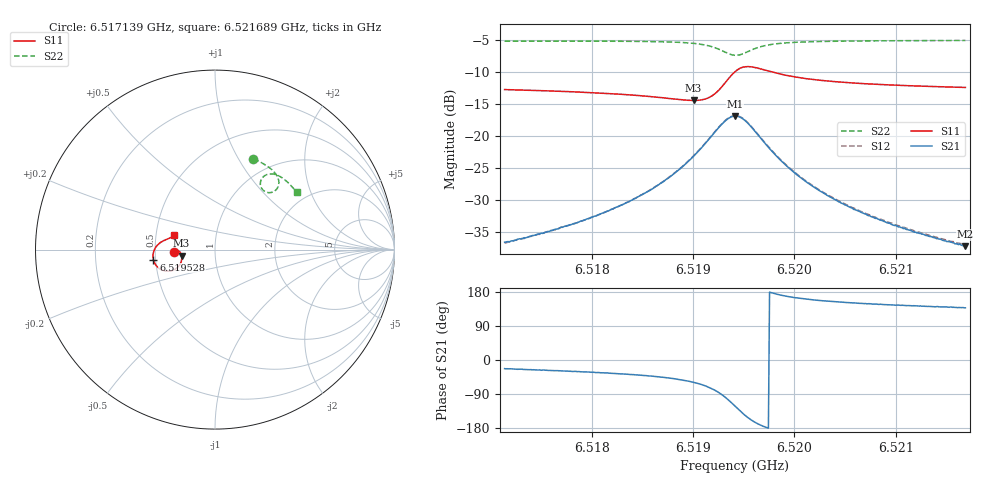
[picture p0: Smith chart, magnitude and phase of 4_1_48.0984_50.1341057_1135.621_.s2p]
#  HZ  S  RI  R  50.00
! Rohde & Schwarz Vector Network Analyzer
! Rohde-Schwarz,ZNB20-2Port,1311601062101988,3.16
! Created: UTC 12/23/2023, 3:34:59 AM
! freq[Hz]  re:S11  im:S11  re:S21  im:S21  re:S12  im:S12  re:S22  im:S22
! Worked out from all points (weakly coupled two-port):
!   401 points, 6.517139 GHz to 6.521689 GHz, reference 50 ohm
!   highest |S21| = -16.88 dB at 6.519414 GHz (marker M1); lowest = -37.2 dB at 6.521689 GHz (marker M2)
!   lowest |S11| = -14.4 dB at 6.519005 GHz (marker M3), VSWR 1.47, Z = 34.2 - j2.46 ohm
!   |S11| at or under -10 dB: start of sweep to 6.519412 GHz; 6.519776 GHz to end of sweep
!   |S22| runs from -7.4 to -5.1 dB; largest |S21 - S12| = 0.0045
!   S11 on the Smith chart (normalised r, x): 6.517139 GHz: 0.63, -0.02; 6.519528 GHz: 0.49, -0.06; 6.521689 GHz: 0.62, +0.10
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6.5171394e9  -0.2299 -0.014  0.0137 -0.00576  0.0137 -0.00541  0.2141 0.5053
6.5175375e9  -0.2252 -0.00846  0.0158 -0.00803  0.0161 -0.0075  0.2433 0.4923
6.5179014e9  -0.2198 -0.00444  0.0187 -0.0113  0.0189 -0.0107  0.2701 0.4779
6.5183109e9  -0.2111 -0.00303  0.0235 -0.0177  0.0241 -0.0169  0.3011 0.4577
6.5186635e9  -0.2 -0.00838  0.0299 -0.0294  0.0308 -0.0286  0.3286 0.4336
6.5188454e9  -0.1926 -0.0177  0.0339 -0.0413  0.0353 -0.0404  0.3428 0.4154
6.5190047e9  -0.1863 -0.0346  0.0359 -0.0596  0.038 -0.0589  0.3532 0.3924
6.519107e9  -0.1855 -0.0537  0.0333 -0.0783  0.0359 -0.0777  0.3559 0.3716
6.519198e9  -0.1931 -0.0788  0.0227 -0.1008  0.0259 -0.101  0.3504 0.3482
6.5193231e9  -0.2368 -0.1162  -0.0218 -0.1305  -0.0182 -0.1322  0.3162 0.3188
6.5193686e9  -0.2653 -0.1205  -0.0483 -0.1314  -0.0448 -0.134  0.2952 0.3176
6.5194141e9  -0.2964 -0.1134  -0.0754 -0.1218  -0.0723 -0.1249  0.2743 0.326
6.519471e9  -0.3279 -0.0884  -0.1006 -0.0966  -0.0985 -0.1003  0.2567 0.3475
6.5195278e9  -0.3433 -0.0553  -0.1107 -0.066  -0.1095 -0.0698  0.2529 0.373
6.5196416e9  -0.3378 -0.00106  -0.0999 -0.0199  -0.1003 -0.0231  0.2718 0.4081
6.5197553e9  -0.3181 0.0277  -0.0798 0.00134  -0.0806 -0.00101  0.2976 0.4204
6.51996e9  -0.2894 0.0483  -0.0537 0.013  -0.0546 0.0116  0.3332 0.4193
6.5201761e9  -0.2708 0.0562  -0.0381 0.0147  -0.039 0.0137  0.3588 0.409
6.5205173e9  -0.2535 0.0628  -0.0252 0.0137  -0.0259 0.0131  0.3882 0.3896
6.5209382e9  -0.2408 0.0688  -0.0173 0.0118  -0.0179 0.0114  0.4161 0.3647
6.521359e9  -0.2317 0.0746  -0.0128 0.0103  -0.0132 0.0101  0.4395 0.339
6.5216888e9  -0.2258 0.0791  -0.0102 0.00932  -0.0107 0.00926  0.456 0.3186
